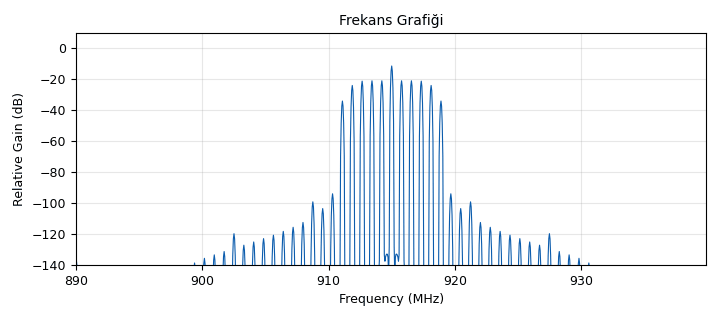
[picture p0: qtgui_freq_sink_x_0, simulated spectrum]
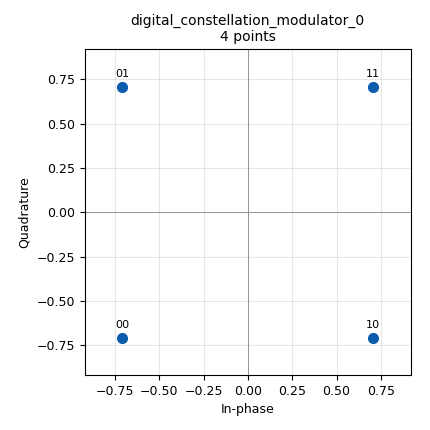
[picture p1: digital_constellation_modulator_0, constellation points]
options:
  parameters:
    generate_options: qt_gui
    id: QPSK_Tx
    output_language: python
    title: Not titled yet
  states: {}

blocks:
- name: qpsk_obj
  id: variable_constellation_rect
  parameters:
    const_points: '[-1-1j, -1+1j, 1+1j, 1-1j]'
    imag_sect: '2'
    real_sect: '2'
    rot_sym: '4'
    sym_map: '[0, 1, 3, 2]'
    w_imag_sect: '1'
    w_real_sect: '1'
  states: {}
- name: samp_rate
  id: variable
  parameters:
    value: '2000000'
  states: {}
- name: blocks_packed_to_unpacked_xx_0
  id: blocks_packed_to_unpacked_xx
  parameters:
    bits_per_chunk: '2'
    endianness: gr.GR_MSB_FIRST
    type: byte
  states: {}
- name: blocks_vector_source_x_0
  id: blocks_vector_source_x
  parameters:
    repeat: 'True'
    type: byte
    vector: '[0x33] * 1000'
  states: {}
- name: digital_constellation_modulator_0
  id: digital_constellation_modulator
  parameters:
    constellation: qpsk_obj
    differential: 'False'
    excess_bw: '0.35'
    samples_per_symbol: '8'
  states: {}
- name: osmosdr_sink_0
  id: osmosdr_sink
  parameters:
    args: hackrf=0
    bb_gain0: '24'
    freq0: 915e6
    gain0: '14'
    if_gain0: '24'
    sample_rate: samp_rate
    sync: none
    type: fc32
  states: {}
- name: qtgui_freq_sink_x_0
  id: qtgui_freq_sink_x
  parameters:
    bw: '50000000'
    fc: 915e6
    fftsize: '1024'
    name: '"Frekans Grafiği"'
    type: complex
  states: {}

connections:
- [blocks_packed_to_unpacked_xx_0, '0', digital_constellation_modulator_0, '0']
- [blocks_vector_source_x_0, '0', blocks_packed_to_unpacked_xx_0, '0']
- [digital_constellation_modulator_0, '0', osmosdr_sink_0, '0']
- [digital_constellation_modulator_0, '0', qtgui_freq_sink_x_0, '0']

metadata:
  file_format: 1
  grc_version: 3.10.12.0
